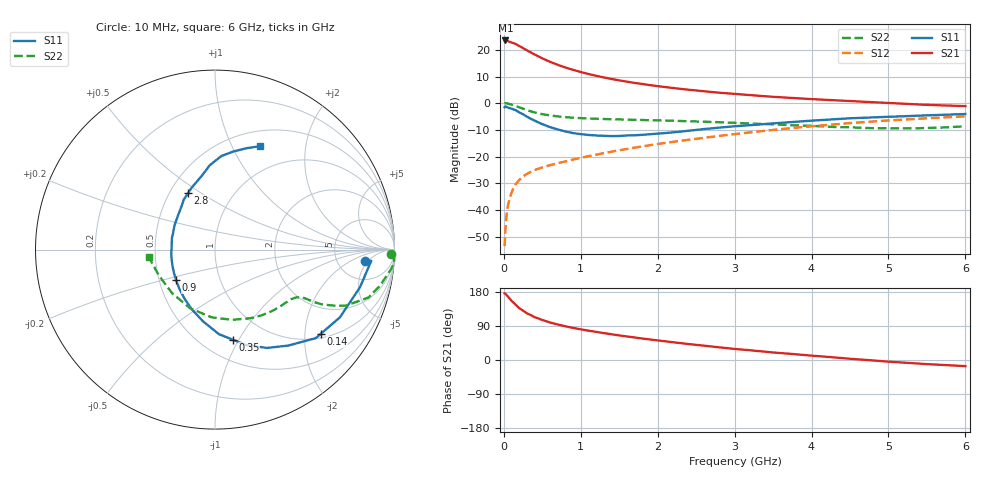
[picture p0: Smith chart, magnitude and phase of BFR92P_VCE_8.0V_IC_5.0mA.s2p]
! Infineon Technologies  Discrete & RF Semiconductors
! BFR92P
! VCE =  8.0 V,  IC =  5.0 mA
! Common Emitter S-Parameters:  Apr 2014
# GHz  S  MA  R  50
!  f  S11  S21  S12  S22
! GHz  MAG  ANG  MAG  ANG  MAG  ANG  MAG  ANG
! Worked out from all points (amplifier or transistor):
!   77 points, 10 MHz to 6 GHz, reference 50 ohm
!   highest |S21| = 23.5 dB at 20 MHz (marker M1)
!   |S21| within 3 dB of that: start of sweep to 257.6 MHz
!   unconditionally stable (mu >= 1): 997.2 MHz to 2.639 GHz
!   at 130 MHz: K = 0.22, MSG = 27.0 dB, |S12| = -31.6 dB
!   at 2.2 GHz: K = 1.04, MAG = 8.9 dB, |S12| = -14.5 dB
!   at 6 GHz: K = 0.85, MSG = 1.9 dB, |S12| = -4.9 dB
!   S11 on the Smith chart (normalised r, x): 10 MHz: 10, -4; 140 MHz: 1.11, -2.41; 350 MHz: 0.69, -0.94; 900 MHz: 0.61, -0.23; 2.8 GHz: 0.62, +0.44; 6 GHz: 0.68, +1.29
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0.01  0.8408 -4.5  14.66 175.7  0.0021 80.7  0.9834 -1.4
0.02  0.873 -4.1  14.97 174.9  0.0043 91.4  1 -2.7
0.05  0.8342 -14.7  14.66 168.1  0.0114 83.8  0.9863 -6.4
0.1  0.7916 -28.5  13.7 156.0  0.0211 75.0  0.9419 -12.2
0.14  0.753 -38.6  13.09 148.6  0.0281 72.5  0.9049 -16.2
0.15  0.7473 -41.3  12.97 146.7  0.0298 72.0  0.8964 -17.3
0.2  0.673 -52.6  11.79 137.0  0.0364 65.4  0.8363 -20.5
0.3  0.5603 -71.8  9.785 123.2  0.0475 60.0  0.7403 -25.0
0.35  0.5114 -78.9  8.947 118.6  0.0517 58.7  0.7056 -26.0
0.4  0.4719 -87.3  8.178 113.1  0.056 57.6  0.6712 -27.1
0.5  0.4051 -99.5  6.918 105.5  0.0627 57.2  0.6238 -27.9
0.6  0.3568 -111.3  5.965 99.0  0.069 57.3  0.5899 -28.2
0.7  0.3223 -121.7  5.24 93.7  0.0751 58.1  0.5662 -28.5
0.9  0.2757 -141.7  4.217 84.7  0.088 59.3  0.5352 -29.9
1.1  0.2543 -158.4  3.523 77.4  0.1018 60.3  0.5186 -31.3
1.5  0.2433 172.0  2.678 64.9  0.1314 61.4  0.4968 -35.8
2.1  0.2761 139.5  2.005 49.3  0.1806 60.4  0.4725 -44.6
2.8  0.349 115.4  1.573 33.4  0.2442 56.8  0.4407 -57.8
3.1  0.3785 108.1  1.457 27.5  0.2735 54.1  0.4229 -65.3
4.1  0.4807 91.9  1.174 10.0  0.3803 44.2  0.3698 -96.6
5.1  0.5632 77.9  0.994 -5.7  0.4845 30.9  0.3378 -138.5
6  0.6279 66.5  0.882 -16.2  0.5684 18.2  0.3715 -173.5
